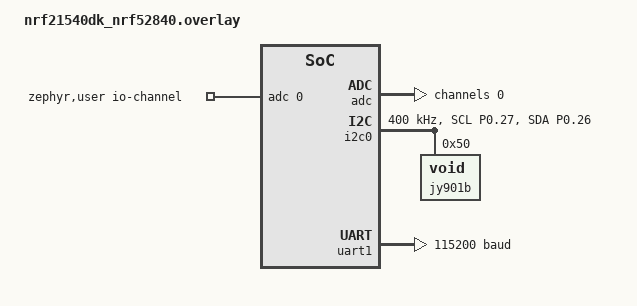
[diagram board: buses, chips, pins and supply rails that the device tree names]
/*
 * nrf52840dk_nrf52840.overlay — Sensor-Hub (TX)
 */

 / {
     zephyr,user {
         /* ECG 信号 → SAADC channel 0 on P0.03 (AIN1) */
         io-channels = <&adc 0>;
     };
 };

 &adc {
     #address-cells = <1>;
     #size-cells = <0>;
     channel@0 {
         reg = <0>;
         zephyr,gain = "ADC_GAIN_1_6";
         zephyr,reference = "ADC_REF_INTERNAL";
         zephyr,acquisition-time = <ADC_ACQ_TIME_DEFAULT>;
         zephyr,input-positive = <NRF_SAADC_AIN1>; /* P0.03 */
         zephyr,resolution = <12>;
     };
 };

 &gpio1 { status = "okay"; };

 /* -------- I²C0: P0.26 (SDA) / P0.27 (SCL) -------- */
 &pinctrl {
     i2c0_default: i2c0_default {
         group1 { psels =
             <NRF_PSEL(TWIM_SCL, 0, 27)>,
             <NRF_PSEL(TWIM_SDA, 0, 26)>; };
     };
     i2c0_sleep: i2c0_sleep {
         group1 { psels =
             <NRF_PSEL(TWIM_SCL, 0, 27)>,
             <NRF_PSEL(TWIM_SDA, 0, 26)>;
             low-power-enable; };
     };
 };

 &i2c0 {
     compatible      = "nordic,nrf-twim";
     status          = "okay";
     clock-frequency = <I2C_BITRATE_FAST>;
     pinctrl-0       = <&i2c0_default>;
     pinctrl-1       = <&i2c0_sleep>;
     pinctrl-names   = "default", "sleep";

     jy901b@50 {         /* JY901B IMU，占位节点 */
         compatible = "void";
         reg = <0x50>;
         status = "okay";
     };
 };

 /* -------- UWB UART1 -------- */
 &uart1 {
     status        = "okay";
     current-speed = <115200>;
     pinctrl-0     = <&uart1_default>;
     pinctrl-1     = <&uart1_sleep>;
     pinctrl-names = "default", "sleep";
 };
